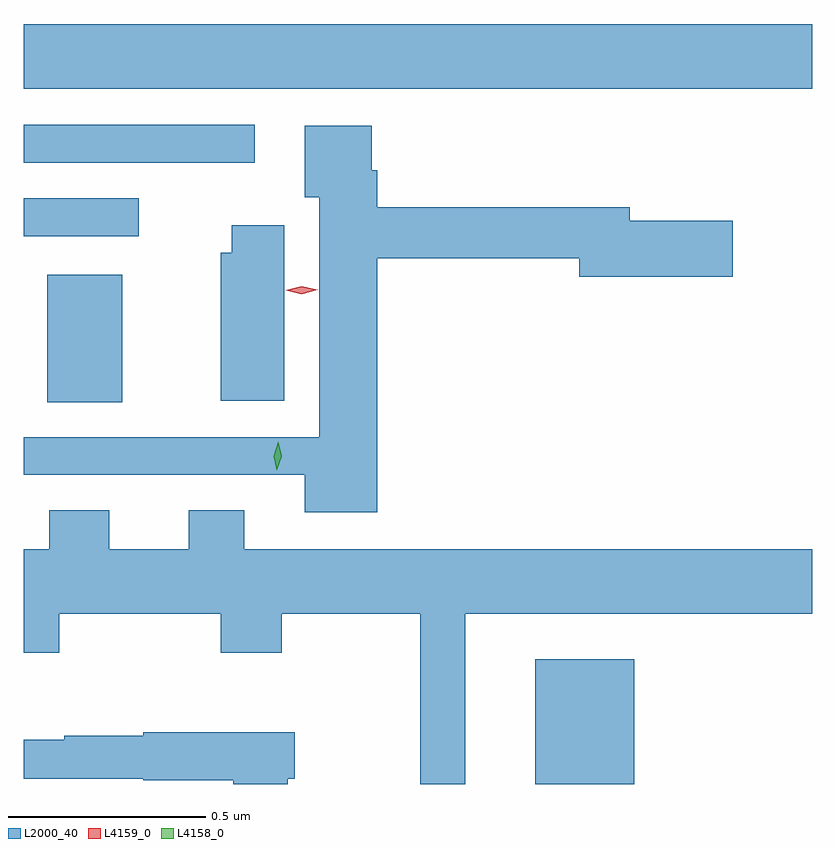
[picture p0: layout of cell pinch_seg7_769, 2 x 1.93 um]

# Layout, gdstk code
import gdstk
lib = gdstk.Library(unit=1e-6, precision=1e-09)
def R(c, l, rs):  # rectangles x0, y0, x1, y1
    for r in rs: c.add(gdstk.rectangle(r[:2], r[2:], *l))
def P(c, l, *ps):  # polygons
    for p in ps: c.add(gdstk.Polygon(p, *l))
L2000_40 = (2000, 40)
L4158_0 = (4158, 0)
L4159_0 = (4159, 0)

pinch_seg7_769 = lib.new_cell('pinch_seg7_769')
R(pinch_seg7_769, L2000_40, [(360.593,1036.148,360.844,1036.465), (359.354,1037.117,359.545,1037.44), (359.295,1037.538,359.587,1037.634), (359.295,1037.724,359.881,1037.82), (359.295,1037.912,361.295,1038.076)])
P(pinch_seg7_769, L2000_40, [(360.191,1037.482),(360.704,1037.482),(360.704,1037.435),(361.093,1037.435),(361.093,1037.577),(360.832,1037.577),(360.832,1037.611),(360.191,1037.611),(360.191,1037.705),(360.178,1037.705),(360.178,1037.818),(360.008,1037.818),(360.008,1037.636),(360.044,1037.636),(360.044,1037.028),(359.295,1037.028),(359.295,1036.932),(360.008,1036.932),(360.008,1036.838),(360.191,1036.838)],
  [(359.956,1037.566),(359.822,1037.566),(359.822,1037.496),(359.795,1037.496),(359.795,1037.12),(359.956,1037.12)],
  [(360.415,1036.58),(361.295,1036.58),(361.295,1036.744),(359.854,1036.744),(359.854,1036.843),(359.714,1036.843),(359.714,1036.744),(359.512,1036.744),(359.512,1036.843),(359.36,1036.843),(359.36,1036.744),(359.295,1036.744),(359.295,1036.481),(359.385,1036.481),(359.385,1036.58),(359.794,1036.58),(359.794,1036.481),(359.949,1036.481),(359.949,1036.58),(360.301,1036.58),(360.301,1036.148),(360.415,1036.148)],
  [(359.964,1036.161),(359.982,1036.161),(359.982,1036.279),(359.598,1036.279),(359.598,1036.27),(359.398,1036.27),(359.398,1036.26),(359.295,1036.26),(359.295,1036.161),(359.598,1036.161),(359.598,1036.157),(359.826,1036.157),(359.826,1036.148),(359.964,1036.148)])
P(pinch_seg7_769, L4158_0, [(359.937,1036.944),(359.937,1036.944),(359.929,1036.98),(359.94,1037.016),(359.941,1037.016),(359.941,1037.016),(359.949,1036.979),(359.937,1036.944)])
P(pinch_seg7_769, L4159_0, [(360,1037.391),(359.959,1037.4),(359.959,1037.4),(359.959,1037.401),(360,1037.411),(360.04,1037.402),(360.041,1037.402),(360.04,1037.402)])

lib.write_gds('pinch_seg7_769.gds')
